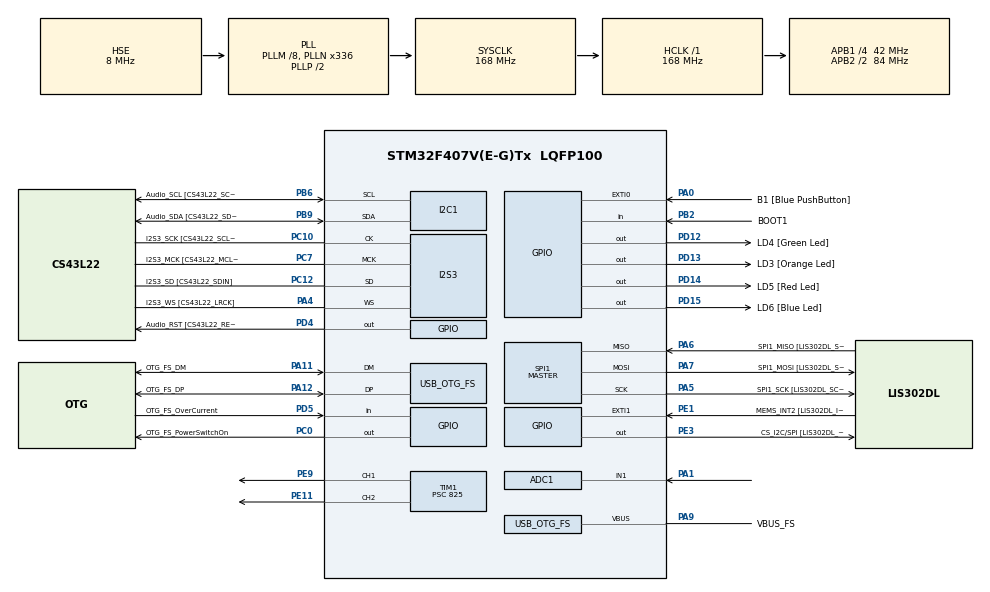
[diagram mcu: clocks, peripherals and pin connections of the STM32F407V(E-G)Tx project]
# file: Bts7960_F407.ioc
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ADC1.Channel-0\#ChannelRegularConversion=ADC_CHANNEL_1
ADC1.NbrOfConversionFlag=1
ADC1.Rank-0\#ChannelRegularConversion=1
ADC1.SamplingTime-0\#ChannelRegularConversion=ADC_SAMPLETIME_3CYCLES
ADC1.master=1
Dma.ADC1.0.Direction=DMA_PERIPH_TO_MEMORY
Dma.ADC1.0.FIFOMode=DMA_FIFOMODE_DISABLE
Dma.ADC1.0.Instance=DMA2_Stream0
Dma.ADC1.0.MemDataAlignment=DMA_MDATAALIGN_HALFWORD
Dma.ADC1.0.MemInc=DMA_MINC_ENABLE
Dma.ADC1.0.Mode=DMA_NORMAL
Dma.ADC1.0.PeriphDataAlignment=DMA_PDATAALIGN_HALFWORD
Dma.ADC1.0.PeriphInc=DMA_PINC_DISABLE
Dma.ADC1.0.Priority=DMA_PRIORITY_VERY_HIGH
Dma.Request0=ADC1
I2S3.AudioFreq-Half_Duplex_Master=I2S_AUDIOFREQ_96K
I2S3.ErrorAudioFreq=-2.34 %
I2S3.ErrorAudioFreq-Half_Duplex_Master=0.8 %
I2S3.FullDuplexMode=I2S_FULLDUPLEXMODE_DISABLE
I2S3.Instance=SPI$Index
I2S3.RealAudioFreq=93.75 KHz
I2S3.RealAudioFreq-Half_Duplex_Master=96.774 KHz
I2S3.VirtualMode=I2S_MODE_MASTER
Mcu.Family=STM32F4
Mcu.Name=STM32F407V(E-G)Tx
Mcu.Package=LQFP100
NVIC.DMA2_Stream0_IRQn=true\:0\:0\:false\:false\:true\:false\:true\:true
NVIC.OTG_FS_IRQn=true\:0\:0\:false\:false\:true\:true\:true\:true
NVIC.PriorityGroup=NVIC_PRIORITYGROUP_0
PA0-WKUP.GPIO_Label=B1 [Blue PushButton]
PA0-WKUP.GPIO_ModeDefaultEXTI=GPIO_MODE_EVT_RISING
PA0-WKUP.GPIO_PuPd=GPIO_NOPULL
PA0-WKUP.Signal=GPXTI0
PA1.Signal=ADCx_IN1
PA10.GPIO_Label=OTG_FS_ID
PA10.GPIO_Mode=GPIO_MODE_AF_PP
PA10.GPIO_PuPd=GPIO_NOPULL
PA10.GPIO_Speed=GPIO_SPEED_FREQ_LOW
PA10.Signal=USB_OTG_FS_ID
PA11.GPIO_Label=OTG_FS_DM
PA11.GPIO_Mode=GPIO_MODE_AF_PP
PA11.GPIO_PuPd=GPIO_NOPULL
PA11.GPIO_Speed=GPIO_SPEED_FREQ_LOW
PA11.Mode=Host_Only
PA11.Signal=USB_OTG_FS_DM
PA12.GPIO_Label=OTG_FS_DP
PA12.GPIO_Mode=GPIO_MODE_AF_PP
PA12.GPIO_PuPd=GPIO_NOPULL
PA12.GPIO_Speed=GPIO_SPEED_FREQ_LOW
PA12.Mode=Host_Only
PA12.Signal=USB_OTG_FS_DP
PA13.GPIO_Label=SWDIO
PA13.Mode=Serial_Wire
PA13.Signal=SYS_JTMS-SWDIO
PA14.GPIO_Label=SWCLK
PA14.Mode=Serial_Wire
PA14.Signal=SYS_JTCK-SWCLK
PA4.GPIO_Label=I2S3_WS [CS43L22_LRCK]
PA4.GPIO_Mode=GPIO_MODE_AF_PP
PA4.GPIO_PuPd=GPIO_NOPULL
PA4.GPIO_Speed=GPIO_SPEED_FREQ_LOW
PA4.Mode=Half_Duplex_Master
PA4.Signal=I2S3_WS
PA5.GPIO_Label=SPI1_SCK [LIS302DL_SCL/SPC]
PA5.GPIO_Mode=GPIO_MODE_AF_PP
PA5.GPIO_PuPd=GPIO_NOPULL
PA5.GPIO_Speed=GPIO_SPEED_FREQ_LOW
PA5.Mode=Full_Duplex_Master
PA5.Signal=SPI1_SCK
PA6.GPIO_Label=SPI1_MISO [LIS302DL_SDO]
PA6.GPIO_Mode=GPIO_MODE_AF_PP
PA6.GPIO_PuPd=GPIO_NOPULL
PA6.GPIO_Speed=GPIO_SPEED_FREQ_LOW
PA6.Mode=Full_Duplex_Master
PA6.Signal=SPI1_MISO
PA7.GPIO_Label=SPI1_MOSI [LIS302DL_SDA/SDI/SDO]
PA7.GPIO_Mode=GPIO_MODE_AF_PP
PA7.GPIO_PuPd=GPIO_NOPULL
PA7.GPIO_Speed=GPIO_SPEED_FREQ_LOW
PA7.Mode=Full_Duplex_Master
PA7.Signal=SPI1_MOSI
PA9.GPIO_Label=VBUS_FS
PA9.GPIO_Mode=GPIO_MODE_INPUT
PA9.GPIO_PuPd=GPIO_NOPULL
PA9.Mode=Activate_VBUS
PA9.Signal=USB_OTG_FS_VBUS
PB10.GPIO_Label=CLK_IN [MP45DT02_CLK]
PB10.GPIO_Mode=GPIO_MODE_AF_PP
PB10.GPIO_PuPd=GPIO_NOPULL
PB10.GPIO_Speed=GPIO_SPEED_FREQ_LOW
PB10.Signal=I2S2_CK
PB2.GPIO_Label=BOOT1
PB2.GPIO_Mode=GPIO_MODE_INPUT
PB2.GPIO_PuPd=GPIO_NOPULL
PB2.Signal=GPIO_Input
PB3.GPIO_Label=SWO
PB3.Signal=SYS_JTDO-SWO
PB6.GPIO_Label=Audio_SCL [CS43L22_SCL]
PB6.GPIO_Mode=GPIO_MODE_AF_OD
PB6.GPIO_Pu=GPIO_PULLUP
PB6.GPIO_PuPd=GPIO_NOPULL
PB6.GPIO_Speed=GPIO_SPEED_FREQ_LOW
PB6.Mode=I2C
PB6.Signal=I2C1_SCL
PB9.GPIO_Label=Audio_SDA [CS43L22_SDA]
PB9.GPIO_Mode=GPIO_MODE_AF_OD
PB9.GPIO_Pu=GPIO_PULLUP
PB9.GPIO_PuPd=GPIO_NOPULL
PB9.GPIO_Speed=GPIO_SPEED_FREQ_LOW
PB9.Mode=I2C
PB9.Signal=I2C1_SDA
PC0.GPIO_Label=OTG_FS_PowerSwitchOn
PC0.GPIO_PuPd=GPIO_NOPULL
PC0.GPIO_Speed=GPIO_SPEED_FREQ_LOW
PC0.PinState=GPIO_PIN_SET
PC0.Signal=GPIO_Output
PC10.GPIO_Label=I2S3_SCK [CS43L22_SCLK]
PC10.GPIO_Mode=GPIO_MODE_AF_PP
PC10.GPIO_PuPd=GPIO_NOPULL
PC10.GPIO_Speed=GPIO_SPEED_FREQ_LOW
PC10.Mode=Half_Duplex_Master
PC10.Signal=I2S3_CK
PC12.GPIO_Label=I2S3_SD [CS43L22_SDIN]
PC12.GPIO_Mode=GPIO_MODE_AF_PP
PC12.GPIO_PuPd=GPIO_NOPULL
PC12.GPIO_Speed=GPIO_SPEED_FREQ_LOW
PC12.Mode=Half_Duplex_Master
PC12.Signal=I2S3_SD
PC14-OSC32_IN.GPIO_Label=PC14-OSC32_IN
PC14-OSC32_IN.Mode=LSE-External-Oscillator
PC14-OSC32_IN.Signal=RCC_OSC32_IN
PC15-OSC32_OUT.GPIO_Label=PC15-OSC32_OUT
PC15-OSC32_OUT.Mode=LSE-External-Oscillator
PC15-OSC32_OUT.Signal=RCC_OSC32_OUT
PC3.GPIO_Label=PDM_OUT [MP45DT02_DOUT]
PC3.GPIO_Mode=GPIO_MODE_AF_PP
PC3.GPIO_PuPd=GPIO_NOPULL
PC3.GPIO_Speed=GPIO_SPEED_FREQ_LOW
PC3.Signal=I2S2_SD
PC7.GPIO_Label=I2S3_MCK [CS43L22_MCLK]
PC7.GPIO_Mode=GPIO_MODE_AF_PP
PC7.GPIO_PuPd=GPIO_NOPULL
PC7.GPIO_Speed=GPIO_SPEED_FREQ_LOW
PC7.Mode=Master_Clock_Activated
PC7.Signal=I2S3_MCK
PD12.GPIO_Label=LD4 [Green Led]
PD12.GPIO_PuPd=GPIO_NOPULL
PD12.GPIO_Speed=GPIO_SPEED_FREQ_LOW
PD12.Signal=GPIO_Output
PD13.GPIO_Label=LD3 [Orange Led]
PD13.GPIO_PuPd=GPIO_NOPULL
PD13.GPIO_Speed=GPIO_SPEED_FREQ_LOW
PD13.Signal=GPIO_Output
PD14.GPIO_Label=LD5 [Red Led]
PD14.GPIO_PuPd=GPIO_NOPULL
PD14.GPIO_Speed=GPIO_SPEED_FREQ_LOW
PD14.Signal=GPIO_Output
PD15.GPIO_Label=LD6 [Blue Led]
PD15.GPIO_PuPd=GPIO_NOPULL
PD15.GPIO_Speed=GPIO_SPEED_FREQ_LOW
PD15.Signal=GPIO_Output
PD4.GPIO_Label=Audio_RST [CS43L22_RESET]
PD4.GPIO_PuPd=GPIO_NOPULL
PD4.GPIO_Speed=GPIO_SPEED_FREQ_LOW
PD4.Signal=GPIO_Output
PD5.GPIO_Label=OTG_FS_OverCurrent
PD5.GPIO_Mode=GPIO_MODE_INPUT
PD5.GPIO_PuPd=GPIO_NOPULL
PD5.Signal=GPIO_Input
PE1.GPIO_Label=MEMS_INT2 [LIS302DL_INT2]
PE1.GPIO_ModeDefaultEXTI=GPIO_MODE_EVT_RISING
PE1.GPIO_PuPd=GPIO_NOPULL
PE1.Signal=GPXTI1
PE11.Signal=S_TIM1_CH2
PE3.GPIO_Label=CS_I2C/SPI [LIS302DL_CS_I2C/SPI]
PE3.GPIO_PuPd=GPIO_NOPULL
PE3.GPIO_Speed=GPIO_SPEED_FREQ_LOW
PE3.Signal=GPIO_Output
PE9.Signal=S_TIM1_CH1
PH0-OSC_IN.GPIO_Label=PH0-OSC_IN
PH0-OSC_IN.Mode=HSE-External-Oscillator
PH0-OSC_IN.Signal=RCC_OSC_IN
PH1-OSC_OUT.GPIO_Label=PH1-OSC_OUT
PH1-OSC_OUT.Mode=HSE-External-Oscillator
PH1-OSC_OUT.Signal=RCC_OSC_OUT
ProjectManager.HeapSize=0x200
ProjectManager.StackSize=0x400
ProjectManager.TargetToolchain=STM32CubeIDE
RCC.48MHZClocksFreq_Value=48000000
RCC.AHBFreq_Value=168000000
RCC.APB1CLKDivider=RCC_HCLK_DIV4
RCC.APB1Freq_Value=42000000
RCC.APB1TimFreq_Value=84000000
RCC.APB2CLKDivider=RCC_HCLK_DIV2
RCC.APB2Freq_Value=84000000
RCC.APB2TimFreq_Value=168000000
RCC.CortexFreq_Value=168000000
RCC.HCLKFreq_Value=168000000
RCC.HSE_VALUE=8000000
RCC.HSI_VALUE=16000000
RCC.PLLM=8
RCC.PLLN=336
RCC.PLLQ=7
RCC.SYSCLKFreq_VALUE=168000000
RCC.SYSCLKSource=RCC_SYSCLKSOURCE_PLLCLK
RCC.VCOOutputFreq_Value=336000000
SH.ADCx_IN1.0=ADC1_IN1,IN1
SH.S_TIM1_CH1.0=TIM1_CH1,PWM Generation1 CH1
SH.S_TIM1_CH2.0=TIM1_CH2,PWM Generation2 CH2
SPI1.BaudRatePrescaler-Full_Duplex_Master=SPI_BAUDRATEPRESCALER_2
SPI1.CalculateBaudRate-Full_Duplex_Master=42.0 MBits/s
SPI1.Direction=SPI_DIRECTION_2LINES
SPI1.Mode=SPI_MODE_MASTER
SPI1.Mode-Full_Duplex_Master=SPI_MODE_MASTER
SPI1.VirtualType=VM_MASTER
TIM1.AutoReloadPreload=TIM_AUTORELOAD_PRELOAD_ENABLE
TIM1.Channel-PWM\ Generation1\ CH1=TIM_CHANNEL_1
TIM1.Channel-PWM\ Generation2\ CH2=TIM_CHANNEL_2
TIM1.Period=4064
TIM1.Prescaler=825
USB_HOST.BSP.number=1
USB_HOST.USBH_HandleTypeDef-CDC_FS=hUsbHostFS
USB_HOST.VirtualModeFS=Cdc
USB_HOST0.BSP.STBoard=false
USB_HOST0.BSP.api=Unknown
USB_HOST0.BSP.instance=PC0
USB_HOST0.BSP.ip=GPIO
USB_HOST0.BSP.mode=Output
USB_HOST0.BSP.name=Drive_VBUS_FS
USB_HOST0.BSP.solution=PC0
USB_OTG_FS.VirtualMode=Host_Only
USB_OTG_FS.phy_itface=HCD_PHY_EMBEDDED
VP_USB_HOST_VS_USB_HOST_CDC_FS.Mode=CDC_FS
board=STM32F407G-DISC1

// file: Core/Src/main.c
/* USER CODE BEGIN Header */
/**
  ******************************************************************************
  * @file           : main.c
  * @brief          : Main program body
  ******************************************************************************
  * @attention
  *
  * Copyright (c) 2023 STMicroelectronics.
  * All rights reserved.
  *
  * This software is licensed under terms that can be found in the LICENSE file
  * in the root directory of this software component.
  * If no LICENSE file comes with this software, it is provided AS-IS.
  *
  ******************************************************************************
  */
/* USER CODE END Header */
#include "main.h"
#include "usb_host.h"

/* USER CODE BEGIN PTD */

uint16_t adc_value;
/* USER CODE END PTD */

ADC_HandleTypeDef hadc1;
DMA_HandleTypeDef hdma_adc1;

I2C_HandleTypeDef hi2c1;

I2S_HandleTypeDef hi2s3;

SPI_HandleTypeDef hspi1;

TIM_HandleTypeDef htim1;

/* USER CODE BEGIN PV */
int16_t Read_ADC()
{
	HAL_ADC_Start(&hadc1);

	if(HAL_ADC_PollForConversion(&hadc1, 100000)==HAL_OK)
		adc_value = HAL_ADC_GetValue(&hadc1);
	return adc_value;
	HAL_ADC_Stop(&hadc1);
}

/* USER CODE END PV */

void SystemClock_Config(void);
static void MX_GPIO_Init(void);
static void MX_DMA_Init(void);
static void MX_I2C1_Init(void);
static void MX_I2S3_Init(void);
static void MX_SPI1_Init(void);
static void MX_ADC1_Init(void);
static void MX_TIM1_Init(void);
void MX_USB_HOST_Process(void);

int main(void)
{

  /* MCU Configuration--------------------------------------------------------*/

  /* Reset of all peripherals, Initializes the Flash interface and the Systick. */
  HAL_Init();

  /* Configure the system clock */
  SystemClock_Config();

  /* Initialize all configured peripherals */
  MX_GPIO_Init();
  MX_DMA_Init();
  MX_I2C1_Init();
  MX_I2S3_Init();
  MX_SPI1_Init();
  MX_USB_HOST_Init();
  MX_ADC1_Init();
  MX_TIM1_Init();
  /* USER CODE BEGIN 2 */
  HAL_TIM_PWM_Start(&htim1, TIM_CHANNEL_1);
  HAL_TIM_PWM_Start(&htim1, TIM_CHANNEL_2);

  /* USER CODE END 2 */

  /* Infinite loop */
  while (1)
  {

    /* USER CODE BEGIN 3 */
    int sensorValue = Read_ADC();
    if (sensorValue < 2047)
     {
     // reverse rotation
     int reversePWM = -(sensorValue - 2047) *2;
     //__HAL_TIM_SET_COMPARE(&htim1, TIM_CHANNEL_1,0);  //LPWM
     __HAL_TIM_SET_COMPARE(&htim1, TIM_CHANNEL_2,reversePWM);  //RPWM

     }
    else
     {
     // forward rotation
     int forwardPWM = (sensorValue - 2046) * 2;
     __HAL_TIM_SET_COMPARE(&htim1, TIM_CHANNEL_1,forwardPWM);  //LPWM
     //__HAL_TIM_SET_COMPARE(&htim1, TIM_CHANNEL_2,0);  //RPWM
     }
	  //Read_ADC();

  }
  /* USER CODE END 3 */
}

void SystemClock_Config(void)
{
  RCC_OscInitTypeDef RCC_OscInitStruct = {0};
  RCC_ClkInitTypeDef RCC_ClkInitStruct = {0};

  /** Configure the main internal regulator output voltage
  */
  __HAL_RCC_PWR_CLK_ENABLE();
  __HAL_PWR_VOLTAGESCALING_CONFIG(PWR_REGULATOR_VOLTAGE_SCALE1);

  /** Initializes the RCC Oscillators according to the specified parameters
  * in the RCC_OscInitTypeDef structure.
  */
  RCC_OscInitStruct.OscillatorType = RCC_OSCILLATORTYPE_HSE;
  RCC_OscInitStruct.HSEState = RCC_HSE_ON;
  RCC_OscInitStruct.PLL.PLLState = RCC_PLL_ON;
  RCC_OscInitStruct.PLL.PLLSource = RCC_PLLSOURCE_HSE;
  RCC_OscInitStruct.PLL.PLLM = 8;
  RCC_OscInitStruct.PLL.PLLN = 336;
  RCC_OscInitStruct.PLL.PLLP = RCC_PLLP_DIV2;
  RCC_OscInitStruct.PLL.PLLQ = 7;
  if (HAL_RCC_OscConfig(&RCC_OscInitStruct) != HAL_OK)
  {
    Error_Handler();
  }

  /** Initializes the CPU, AHB and APB buses clocks
  */
  RCC_ClkInitStruct.ClockType = RCC_CLOCKTYPE_HCLK|RCC_CLOCKTYPE_SYSCLK
                              |RCC_CLOCKTYPE_PCLK1|RCC_CLOCKTYPE_PCLK2;
  RCC_ClkInitStruct.SYSCLKSource = RCC_SYSCLKSOURCE_PLLCLK;
  RCC_ClkInitStruct.AHBCLKDivider = RCC_SYSCLK_DIV1;
  RCC_ClkInitStruct.APB1CLKDivider = RCC_HCLK_DIV4;
  RCC_ClkInitStruct.APB2CLKDivider = RCC_HCLK_DIV2;

  if (HAL_RCC_ClockConfig(&RCC_ClkInitStruct, FLASH_LATENCY_5) != HAL_OK)
  {
    Error_Handler();
  }
}

static void MX_ADC1_Init(void)
{

  ADC_ChannelConfTypeDef sConfig = {0};

  /** Configure the global features of the ADC (Clock, Resolution, Data Alignment and number of conversion)
  */
  hadc1.Instance = ADC1;
  hadc1.Init.ClockPrescaler = ADC_CLOCK_SYNC_PCLK_DIV4;
  hadc1.Init.Resolution = ADC_RESOLUTION_12B;
  hadc1.Init.ScanConvMode = DISABLE;
  hadc1.Init.ContinuousConvMode = DISABLE;
  hadc1.Init.DiscontinuousConvMode = DISABLE;
  hadc1.Init.ExternalTrigConvEdge = ADC_EXTERNALTRIGCONVEDGE_NONE;
  hadc1.Init.ExternalTrigConv = ADC_SOFTWARE_START;
  hadc1.Init.DataAlign = ADC_DATAALIGN_RIGHT;
  hadc1.Init.NbrOfConversion = 1;
  hadc1.Init.DMAContinuousRequests = DISABLE;
  hadc1.Init.EOCSelection = ADC_EOC_SINGLE_CONV;
  if (HAL_ADC_Init(&hadc1) != HAL_OK)
  {
    Error_Handler();
  }

  /** Configure for the selected ADC regular channel its corresponding rank in the sequencer and its sample time.
  */
  sConfig.Channel = ADC_CHANNEL_1;
  sConfig.Rank = 1;
  sConfig.SamplingTime = ADC_SAMPLETIME_3CYCLES;
  if (HAL_ADC_ConfigChannel(&hadc1, &sConfig) != HAL_OK)
  {
    Error_Handler();
  }

}

static void MX_I2C1_Init(void)
{

  hi2c1.Instance = I2C1;
  hi2c1.Init.ClockSpeed = 100000;
  hi2c1.Init.DutyCycle = I2C_DUTYCYCLE_2;
  hi2c1.Init.OwnAddress1 = 0;
  hi2c1.Init.AddressingMode = I2C_ADDRESSINGMODE_7BIT;
  hi2c1.Init.DualAddressMode = I2C_DUALADDRESS_DISABLE;
  hi2c1.Init.OwnAddress2 = 0;
  hi2c1.Init.GeneralCallMode = I2C_GENERALCALL_DISABLE;
  hi2c1.Init.NoStretchMode = I2C_NOSTRETCH_DISABLE;
  if (HAL_I2C_Init(&hi2c1) != HAL_OK)
  {
    Error_Handler();
  }

}

static void MX_I2S3_Init(void)
{

  hi2s3.Instance = SPI3;
  hi2s3.Init.Mode = I2S_MODE_MASTER_TX;
  hi2s3.Init.Standard = I2S_STANDARD_PHILIPS;
  hi2s3.Init.DataFormat = I2S_DATAFORMAT_16B;
  hi2s3.Init.MCLKOutput = I2S_MCLKOUTPUT_ENABLE;
  hi2s3.Init.AudioFreq = I2S_AUDIOFREQ_96K;
  hi2s3.Init.CPOL = I2S_CPOL_LOW;
  hi2s3.Init.ClockSource = I2S_CLOCK_PLL;
  hi2s3.Init.FullDuplexMode = I2S_FULLDUPLEXMODE_DISABLE;
  if (HAL_I2S_Init(&hi2s3) != HAL_OK)
  {
    Error_Handler();
  }

}

static void MX_SPI1_Init(void)
{

  /* SPI1 parameter configuration*/
  hspi1.Instance = SPI1;
  hspi1.Init.Mode = SPI_MODE_MASTER;
  hspi1.Init.Direction = SPI_DIRECTION_2LINES;
  hspi1.Init.DataSize = SPI_DATASIZE_8BIT;
  hspi1.Init.CLKPolarity = SPI_POLARITY_LOW;
  hspi1.Init.CLKPhase = SPI_PHASE_1EDGE;
  hspi1.Init.NSS = SPI_NSS_SOFT;
  hspi1.Init.BaudRatePrescaler = SPI_BAUDRATEPRESCALER_2;
  hspi1.Init.FirstBit = SPI_FIRSTBIT_MSB;
  hspi1.Init.TIMode = SPI_TIMODE_DISABLE;
  hspi1.Init.CRCCalculation = SPI_CRCCALCULATION_DISABLE;
  hspi1.Init.CRCPolynomial = 10;
  if (HAL_SPI_Init(&hspi1) != HAL_OK)
  {
    Error_Handler();
  }

}

static void MX_TIM1_Init(void)
{

  TIM_MasterConfigTypeDef sMasterConfig = {0};
  TIM_OC_InitTypeDef sConfigOC = {0};
  TIM_BreakDeadTimeConfigTypeDef sBreakDeadTimeConfig = {0};

  htim1.Instance = TIM1;
  htim1.Init.Prescaler = 825;
  htim1.Init.CounterMode = TIM_COUNTERMODE_UP;
  htim1.Init.Period = 4064;
  htim1.Init.ClockDivision = TIM_CLOCKDIVISION_DIV1;
  htim1.Init.RepetitionCounter = 0;
  htim1.Init.AutoReloadPreload = TIM_AUTORELOAD_PRELOAD_ENABLE;
  if (HAL_TIM_PWM_Init(&htim1) != HAL_OK)
  {
    Error_Handler();
  }
  sMasterConfig.MasterOutputTrigger = TIM_TRGO_RESET;
  sMasterConfig.MasterSlaveMode = TIM_MASTERSLAVEMODE_DISABLE;
  if (HAL_TIMEx_MasterConfigSynchronization(&htim1, &sMasterConfig) != HAL_OK)
  {
    Error_Handler();
  }
  sConfigOC.OCMode = TIM_OCMODE_PWM1;
  sConfigOC.Pulse = 0;
  sConfigOC.OCPolarity = TIM_OCPOLARITY_HIGH;
  sConfigOC.OCNPolarity = TIM_OCNPOLARITY_HIGH;
  sConfigOC.OCFastMode = TIM_OCFAST_DISABLE;
  sConfigOC.OCIdleState = TIM_OCIDLESTATE_RESET;
  sConfigOC.OCNIdleState = TIM_OCNIDLESTATE_RESET;
  if (HAL_TIM_PWM_ConfigChannel(&htim1, &sConfigOC, TIM_CHANNEL_1) != HAL_OK)
  {
    Error_Handler();
  }
  if (HAL_TIM_PWM_ConfigChannel(&htim1, &sConfigOC, TIM_CHANNEL_2) != HAL_OK)
  {
    Error_Handler();
  }
  sBreakDeadTimeConfig.OffStateRunMode = TIM_OSSR_DISABLE;
  sBreakDeadTimeConfig.OffStateIDLEMode = TIM_OSSI_DISABLE;
  sBreakDeadTimeConfig.LockLevel = TIM_LOCKLEVEL_OFF;
  sBreakDeadTimeConfig.DeadTime = 0;
  sBreakDeadTimeConfig.BreakState = TIM_BREAK_DISABLE;
  sBreakDeadTimeConfig.BreakPolarity = TIM_BREAKPOLARITY_HIGH;
  sBreakDeadTimeConfig.AutomaticOutput = TIM_AUTOMATICOUTPUT_DISABLE;
  if (HAL_TIMEx_ConfigBreakDeadTime(&htim1, &sBreakDeadTimeConfig) != HAL_OK)
  {
    Error_Handler();
  }
  HAL_TIM_MspPostInit(&htim1);

}

static void MX_DMA_Init(void)
{

  /* DMA controller clock enable */
  __HAL_RCC_DMA2_CLK_ENABLE();

  /* DMA interrupt init */
  /* DMA2_Stream0_IRQn interrupt configuration */
  HAL_NVIC_SetPriority(DMA2_Stream0_IRQn, 0, 0);
  HAL_NVIC_EnableIRQ(DMA2_Stream0_IRQn);

}

static void MX_GPIO_Init(void)
{
  GPIO_InitTypeDef GPIO_InitStruct = {0};

  /* GPIO Ports Clock Enable */
  __HAL_RCC_GPIOE_CLK_ENABLE();
  __HAL_RCC_GPIOC_CLK_ENABLE();
  __HAL_RCC_GPIOH_CLK_ENABLE();
  __HAL_RCC_GPIOA_CLK_ENABLE();
  __HAL_RCC_GPIOB_CLK_ENABLE();
  __HAL_RCC_GPIOD_CLK_ENABLE();

  /*Configure GPIO pin Output Level */
  HAL_GPIO_WritePin(CS_I2C_SPI_GPIO_Port, CS_I2C_SPI_Pin, GPIO_PIN_RESET);

  /*Configure GPIO pin Output Level */
  HAL_GPIO_WritePin(OTG_FS_PowerSwitchOn_GPIO_Port, OTG_FS_PowerSwitchOn_Pin, GPIO_PIN_SET);

  /*Configure GPIO pin Output Level */
  HAL_GPIO_WritePin(GPIOD, LD4_Pin|LD3_Pin|LD5_Pin|LD6_Pin
                          |Audio_RST_Pin, GPIO_PIN_RESET);

  /*Configure GPIO pin : CS_I2C_SPI_Pin */
  GPIO_InitStruct.Pin = CS_I2C_SPI_Pin;
  GPIO_InitStruct.Mode = GPIO_MODE_OUTPUT_PP;
  GPIO_InitStruct.Pull = GPIO_NOPULL;
  GPIO_InitStruct.Speed = GPIO_SPEED_FREQ_LOW;
  HAL_GPIO_Init(CS_I2C_SPI_GPIO_Port, &GPIO_InitStruct);

  /*Configure GPIO pin : OTG_FS_PowerSwitchOn_Pin */
  GPIO_InitStruct.Pin = OTG_FS_PowerSwitchOn_Pin;
  GPIO_InitStruct.Mode = GPIO_MODE_OUTPUT_PP;
  GPIO_InitStruct.Pull = GPIO_NOPULL;
  GPIO_InitStruct.Speed = GPIO_SPEED_FREQ_LOW;
  HAL_GPIO_Init(OTG_FS_PowerSwitchOn_GPIO_Port, &GPIO_InitStruct);

  /*Configure GPIO pin : PDM_OUT_Pin */
  GPIO_InitStruct.Pin = PDM_OUT_Pin;
  GPIO_InitStruct.Mode = GPIO_MODE_AF_PP;
  GPIO_InitStruct.Pull = GPIO_NOPULL;
  GPIO_InitStruct.Speed = GPIO_SPEED_FREQ_LOW;
  GPIO_InitStruct.Alternate = GPIO_AF5_SPI2;
  HAL_GPIO_Init(PDM_OUT_GPIO_Port, &GPIO_InitStruct);

  /*Configure GPIO pin : B1_Pin */
  GPIO_InitStruct.Pin = B1_Pin;
  GPIO_InitStruct.Mode = GPIO_MODE_EVT_RISING;
  GPIO_InitStruct.Pull = GPIO_NOPULL;
  HAL_GPIO_Init(B1_GPIO_Port, &GPIO_InitStruct);

  /*Configure GPIO pin : BOOT1_Pin */
  GPIO_InitStruct.Pin = BOOT1_Pin;
  GPIO_InitStruct.Mode = GPIO_MODE_INPUT;
  GPIO_InitStruct.Pull = GPIO_NOPULL;
  HAL_GPIO_Init(BOOT1_GPIO_Port, &GPIO_InitStruct);

  /*Configure GPIO pin : CLK_IN_Pin */
  GPIO_InitStruct.Pin = CLK_IN_Pin;
  GPIO_InitStruct.Mode = GPIO_MODE_AF_PP;
  GPIO_InitStruct.Pull = GPIO_NOPULL;
  GPIO_InitStruct.Speed = GPIO_SPEED_FREQ_LOW;
  GPIO_InitStruct.Alternate = GPIO_AF5_SPI2;
  HAL_GPIO_Init(CLK_IN_GPIO_Port, &GPIO_InitStruct);

  /*Configure GPIO pins : LD4_Pin LD3_Pin LD5_Pin LD6_Pin
                           Audio_RST_Pin */
  GPIO_InitStruct.Pin = LD4_Pin|LD3_Pin|LD5_Pin|LD6_Pin
                          |Audio_RST_Pin;
  GPIO_InitStruct.Mode = GPIO_MODE_OUTPUT_PP;
  GPIO_InitStruct.Pull = GPIO_NOPULL;
  GPIO_InitStruct.Speed = GPIO_SPEED_FREQ_LOW;
  HAL_GPIO_Init(GPIOD, &GPIO_InitStruct);

  /*Configure GPIO pin : OTG_FS_OverCurrent_Pin */
  GPIO_InitStruct.Pin = OTG_FS_OverCurrent_Pin;
  GPIO_InitStruct.Mode = GPIO_MODE_INPUT;
  GPIO_InitStruct.Pull = GPIO_NOPULL;
  HAL_GPIO_Init(OTG_FS_OverCurrent_GPIO_Port, &GPIO_InitStruct);

  /*Configure GPIO pin : MEMS_INT2_Pin */
  GPIO_InitStruct.Pin = MEMS_INT2_Pin;
  GPIO_InitStruct.Mode = GPIO_MODE_EVT_RISING;
  GPIO_InitStruct.Pull = GPIO_NOPULL;
  HAL_GPIO_Init(MEMS_INT2_GPIO_Port, &GPIO_InitStruct);

}

void Error_Handler(void)
{
  __disable_irq();
  while (1)
  {
  }
}
